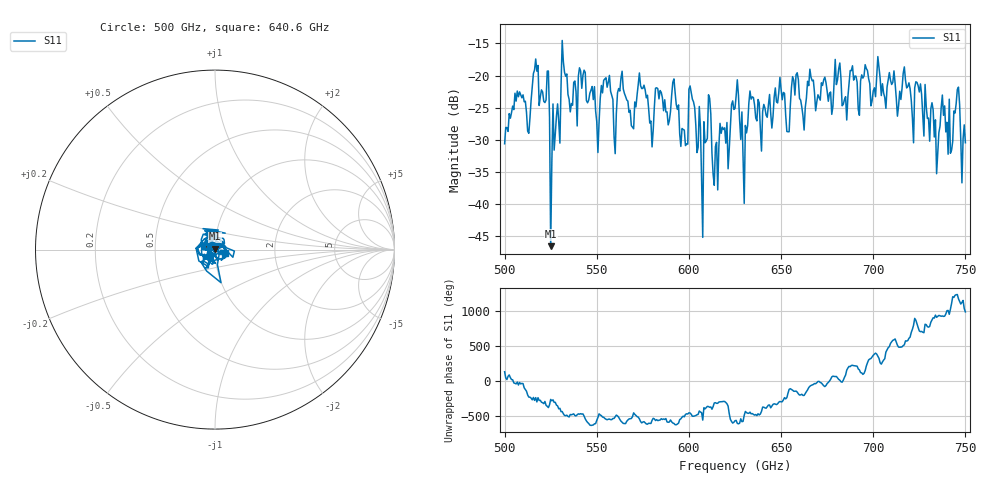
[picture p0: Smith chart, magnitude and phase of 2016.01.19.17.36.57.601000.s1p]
!Created with skrf (http://scikit-rf.org).
# GHz S RI R 50.0
!freq ReS11 ImS11
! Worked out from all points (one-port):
!   401 points, 500 GHz to 750 GHz, reference 50 ohm
!   lowest |S11| = -46.5 dB at 525 GHz (marker M1), VSWR 1.01, Z = 50 + j0.47 ohm
!   |S11| at or under -10 dB: start of sweep to end of sweep
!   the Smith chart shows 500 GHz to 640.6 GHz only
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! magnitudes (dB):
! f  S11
! 500 GHz  -30.6
! 506.9 GHz  -22.4
! 513.1 GHz  -29.0
! 516.9 GHz  -17.4
! 525 GHz  -46.5
! 526.2 GHz  -24.4
! 531.2 GHz  -14.6
! 550.6 GHz  -32.0
! 562.5 GHz  -22.4
! 568.8 GHz  -27.8
! 573.8 GHz  -21.6
! 579.4 GHz  -27.1
! 593.8 GHz  -25.3
! 598.1 GHz  -30.9
! 601.2 GHz  -22.7
! 608.1 GHz  -27.2
! 610.6 GHz  -23.0
! 614.4 GHz  -31.1
! 625 GHz  -25.1
! 630.6 GHz  -27.8
! 633.8 GHz  -23.7
! 653.8 GHz  -28.7
! 656.2 GHz  -20.2
! 687.5 GHz  -19.2
! 718.8 GHz  -21.7
! 734.4 GHz  -35.3
! 745.6 GHz  -22.2
! 750 GHz  -30.4
